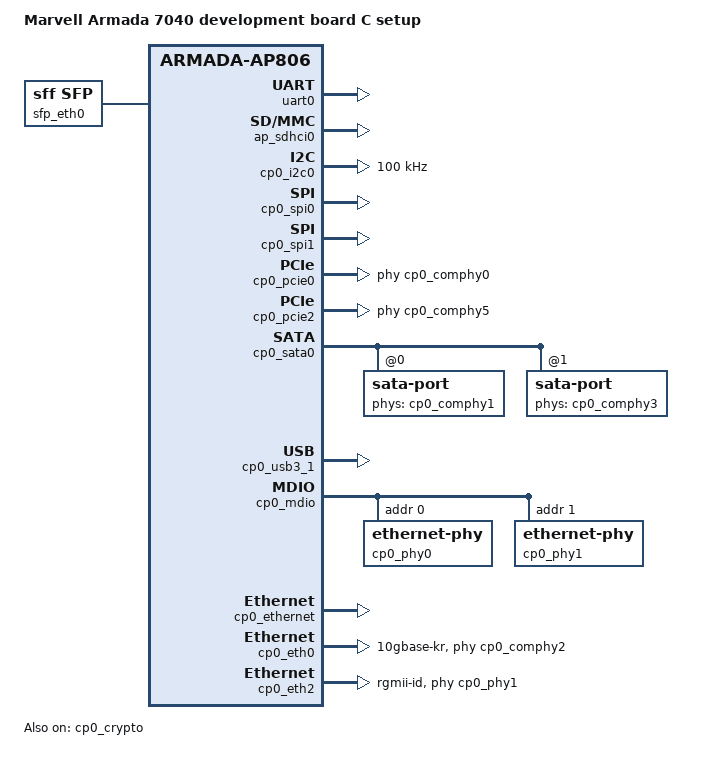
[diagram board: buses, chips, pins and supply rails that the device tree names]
// SPDX-License-Identifier: (GPL-2.0+ OR MIT)
/*
 * Device Tree file for Marvell Armada 7040 development board
 * This board file supports the C configuration of the board
 */

#include "armada-7040-db.dtsi"

/ {
	model = "Marvell Armada 7040 development board C setup";
	compatible = "marvell,armada7040-db-C", "marvell,armada7040-db",
		     "marvell,armada7040", "marvell,armada-ap806-quad",
		     "marvell,armada-ap806";

	chosen {
		stdout-path = "serial0:115200n8";
	};

	aliases {
		ethernet0 = &cp0_eth0;
		ethernet1 = &cp0_eth2;
	};

	sfp_eth0: sfp-eth0 {
		compatible = "sff,sfp";
	};
};

&uart0 {
	status = "okay";
};

&ap_sdhci0 {
	status = "okay";
};

&cp0_i2c0 {
	status = "okay";
	clock-frequency = <100000>;
};

&cp0_spi0 {
	status = "okay";
};

&cp0_spi1 {
	status = "okay";
};

&cp0_pcie0 {
	status = "okay";
	phys = <&cp0_comphy0 0>;
};

&cp0_pcie2 {
	status = "okay";
	phys = <&cp0_comphy5 2>;
};

&cp0_sata0 {
	status = "okay";

	sata-port@0 {
		status = "okay";
		/* Generic PHY, providing serdes lanes */
		phys = <&cp0_comphy1 0>;
	};

	sata-port@1 {
		status = "okay";
		/* Generic PHY, providing serdes lanes */
		phys = <&cp0_comphy3 1>;
	};
};

&cp0_usb3_1 {
	status = "okay";
};

&cp0_mdio {
	status = "okay";

	cp0_phy0: ethernet-phy@0 {
		reg = <0>;
	};
	cp0_phy1: ethernet-phy@3 {
		reg = <1>;
	};
};

&cp0_ethernet {
	status = "okay";
};

&cp0_eth0 {
	status = "okay";
	/* Network PHY */
	phy-mode = "10gbase-kr";
	/* Generic PHY, providing serdes lanes */
	phys = <&cp0_comphy2 0>;
	managed = "in-band-status";
	sfp = <&sfp_eth0>;
};

&cp0_eth2 {
	status = "okay";
	phy = <&cp0_phy1>;
	phy-mode = "rgmii-id";
};

&cp0_crypto {
	status = "okay";
};
